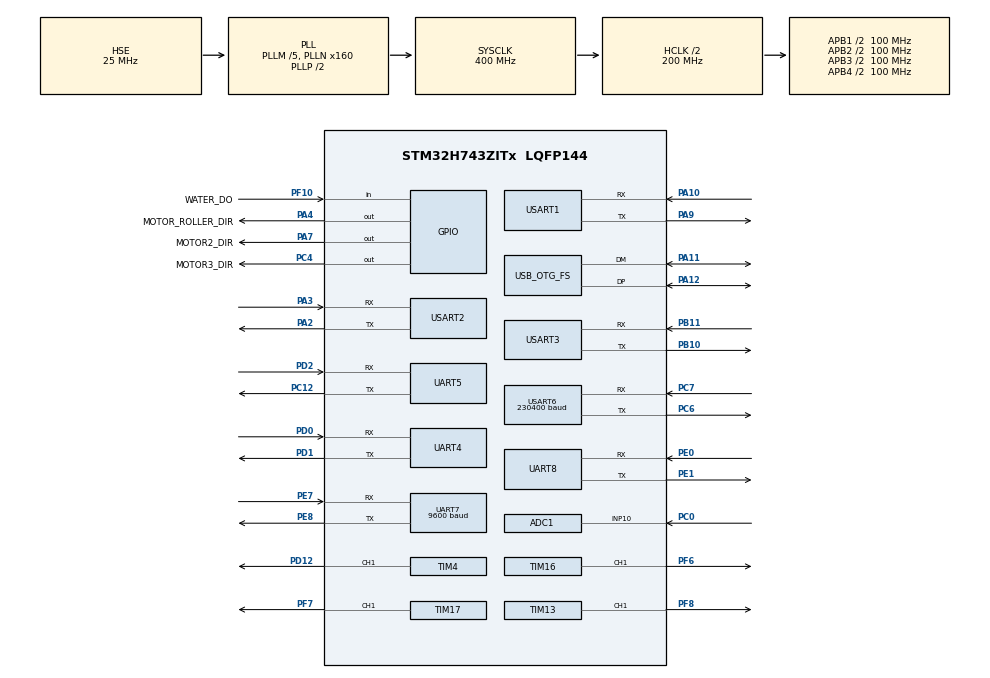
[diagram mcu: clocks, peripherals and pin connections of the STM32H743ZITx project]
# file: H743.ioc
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ADC1.Channel-0\#ChannelRegularConversion=ADC_CHANNEL_10
ADC1.NbrOfConversionFlag=1
ADC1.OffsetNumber-0\#ChannelRegularConversion=ADC_OFFSET_NONE
ADC1.OffsetSignedSaturation-0\#ChannelRegularConversion=DISABLE
ADC1.Rank-0\#ChannelRegularConversion=1
ADC1.Resolution=ADC_RESOLUTION_12B
ADC1.SamplingTime-0\#ChannelRegularConversion=ADC_SAMPLETIME_64CYCLES_5
ADC1.master=1
CORTEX_M7.default_mode_Activation=1
FREERTOS.Tasks01=defaultTask,24,128,StartDefaultTask,Default,NULL,Dynamic,NULL,NULL
FREERTOS.configTOTAL_HEAP_SIZE=65536
Mcu.Family=STM32H7
Mcu.Name=STM32H743ZITx
Mcu.Package=LQFP144
NVIC.OTG_FS_IRQn=true\:6\:0\:true\:false\:true\:true\:true\:true\:true
NVIC.PriorityGroup=NVIC_PRIORITYGROUP_4
NVIC.TIM15_IRQn=true\:15\:0\:false\:false\:true\:false\:false\:true\:true
NVIC.TIM6_DAC_IRQn=true\:6\:0\:true\:false\:true\:true\:true\:true\:true
NVIC.TIM7_IRQn=true\:6\:0\:true\:false\:true\:true\:true\:true\:true
NVIC.TimeBase=TIM15_IRQn
NVIC.TimeBaseIP=TIM15
NVIC.UART4_IRQn=true\:5\:0\:false\:false\:true\:true\:true\:true\:true
NVIC.UART5_IRQn=true\:5\:0\:false\:false\:true\:true\:true\:true\:true
NVIC.UART7_IRQn=true\:5\:0\:false\:false\:true\:true\:true\:true\:true
NVIC.UART8_IRQn=true\:5\:0\:false\:false\:true\:true\:true\:true\:true
NVIC.USART1_IRQn=true\:5\:0\:false\:false\:true\:true\:true\:true\:true
NVIC.USART2_IRQn=true\:5\:0\:false\:false\:true\:true\:true\:true\:true
NVIC.USART6_IRQn=true\:5\:0\:false\:false\:true\:true\:true\:true\:true
PA10.Mode=Asynchronous
PA10.Signal=USART1_RX
PA11.Mode=Device_Only
PA11.Signal=USB_OTG_FS_DM
PA12.Mode=Device_Only
PA12.Signal=USB_OTG_FS_DP
PA13\ (JTMS/SWDIO).Mode=Serial_Wire
PA13\ (JTMS/SWDIO).Signal=DEBUG_JTMS-SWDIO
PA14\ (JTCK/SWCLK).Mode=Serial_Wire
PA14\ (JTCK/SWCLK).Signal=DEBUG_JTCK-SWCLK
PA2.Mode=Asynchronous
PA2.Signal=USART2_TX
PA3.Mode=Asynchronous
PA3.Signal=USART2_RX
PA4.GPIO_Label=MOTOR_ROLLER_DIR
PA4.Signal=GPIO_Output
PA7.GPIO_Label=MOTOR2_DIR
PA7.Signal=GPIO_Output
PA9.Mode=Asynchronous
PA9.Signal=USART1_TX
PB10.Mode=Asynchronous
PB10.Signal=USART3_TX
PB11.Mode=Asynchronous
PB11.Signal=USART3_RX
PC0.Signal=ADCx_INP10
PC12.Mode=Asynchronous
PC12.Signal=UART5_TX
PC14-OSC32_IN\ (OSC32_IN).Mode=LSE-External-Oscillator
PC14-OSC32_IN\ (OSC32_IN).Signal=RCC_OSC32_IN
PC15-OSC32_OUT\ (OSC32_OUT).Mode=LSE-External-Oscillator
PC15-OSC32_OUT\ (OSC32_OUT).Signal=RCC_OSC32_OUT
PC4.GPIO_Label=MOTOR3_DIR
PC4.Signal=GPIO_Output
PC6.Mode=Asynchronous
PC6.Signal=USART6_TX
PC7.GPIO_PuPd=GPIO_PULLUP
PC7.Mode=Asynchronous
PC7.Signal=USART6_RX
PD0.Mode=Asynchronous
PD0.Signal=UART4_RX
PD1.Mode=Asynchronous
PD1.Signal=UART4_TX
PD12.Signal=S_TIM4_CH1
PD2.Mode=Asynchronous
PD2.Signal=UART5_RX
PE0.Mode=Asynchronous
PE0.Signal=UART8_RX
PE1.Mode=Asynchronous
PE1.Signal=UART8_TX
PE7.Mode=Asynchronous
PE7.Signal=UART7_RX
PE8.Mode=Asynchronous
PE8.Signal=UART7_TX
PF10.GPIO_Label=WATER_DO
PF10.Signal=GPIO_Input
PF6.Signal=S_TIM16_CH1
PF7.Signal=S_TIM17_CH1
PF8.Signal=S_TIM13_CH1
PH0-OSC_IN\ (PH0).Mode=HSE-External-Oscillator
PH0-OSC_IN\ (PH0).Signal=RCC_OSC_IN
PH1-OSC_OUT\ (PH1).Mode=HSE-External-Oscillator
PH1-OSC_OUT\ (PH1).Signal=RCC_OSC_OUT
ProjectManager.HeapSize=0x200
ProjectManager.StackSize=0x400
ProjectManager.TargetToolchain=MDK-ARM V5.32
RCC.ADCCLockSelection=RCC_ADCCLKSOURCE_CLKP
RCC.ADCFreq_Value=25000000
RCC.APB1Freq_Value=100000000
RCC.APB2Freq_Value=100000000
RCC.APB3Freq_Value=100000000
RCC.APB4Freq_Value=100000000
RCC.CKPERSourceSelection=RCC_CLKPSOURCE_HSE
RCC.CortexFreq_Value=400000000
RCC.D1PPRE=RCC_APB3_DIV2
RCC.D2PPRE1=RCC_APB1_DIV2
RCC.D2PPRE2=RCC_APB2_DIV2
RCC.D3PPRE=RCC_APB4_DIV2
RCC.DIVM1=5
RCC.DIVM2=5
RCC.DIVN1=160
RCC.DIVN2=45
RCC.HCLKFreq_Value=200000000
RCC.HPRE=RCC_HCLK_DIV2
RCC.PLL2FRACN=3072
RCC.PLLFRACN=0
RCC.PLLSourceVirtual=RCC_PLLSOURCE_HSE
RCC.SYSCLKFreq_VALUE=400000000
RCC.SYSCLKSource=RCC_SYSCLKSOURCE_PLLCLK
RCC.USBCLockSelection=RCC_USBCLKSOURCE_HSI48
RCC.USBFreq_Value=48000000
SH.ADCx_INP10.0=ADC1_INP10,IN10-Single-Ended
SH.S_TIM13_CH1.0=TIM13_CH1,PWM Generation1 CH1
SH.S_TIM16_CH1.0=TIM16_CH1,PWM Generation1 CH1
SH.S_TIM17_CH1.0=TIM17_CH1,PWM Generation1 CH1
SH.S_TIM4_CH1.0=TIM4_CH1,PWM Generation1 CH1
TIM13.Channel=TIM_CHANNEL_1
TIM13.OCPolarity_1=TIM_OCPOLARITY_LOW
TIM13.Period=99
TIM13.Prescaler=63
TIM16.AutoReloadPreload=TIM_AUTORELOAD_PRELOAD_ENABLE
TIM16.Channel=TIM_CHANNEL_1
TIM16.OCPolarity_1=TIM_OCPOLARITY_LOW
TIM16.Period=99
TIM16.Prescaler=63
TIM17.Channel=TIM_CHANNEL_1
TIM17.OCPolarity_1=TIM_OCPOLARITY_LOW
TIM17.Period=99
TIM17.Prescaler=63
TIM4.Channel=TIM_CHANNEL_1
TIM4.Channel-PWM\ Generation1\ CH1=TIM_CHANNEL_1
TIM4.Period=19999
TIM4.Prescaler=199
TIM6.Period=999
TIM6.Prescaler=199
TIM7.Period=499
TIM7.Prescaler=6399
UART4.VirtualMode-Asynchronous=VM_ASYNC
UART7.BaudRate=9600
UART7.VirtualMode-Asynchronous=VM_ASYNC
UART8.VirtualMode-Asynchronous=VM_ASYNC
USART1.VirtualMode-Asynchronous=VM_ASYNC
USART2.VirtualMode-Asynchronous=VM_ASYNC
USART3.VirtualMode-Asynchronous=VM_ASYNC
USART6.BaudRate=230400
USART6.VirtualMode-Asynchronous=VM_ASYNC
USB_DEVICE.CLASS_NAME_FS=CDC
USB_DEVICE.VirtualMode-CDC_FS=Cdc
USB_DEVICE.VirtualModeFS=Cdc_FS
USB_OTG_FS.VirtualMode=Device_Only
VP_FREERTOS_VS_CMSIS_V2.Mode=CMSIS_V2
VP_MEMORYMAP_VS_MEMORYMAP.Mode=CurAppReg
VP_SYS_VS_tim15.Mode=TIM15
VP_TIM13_VS_ClockSourceINT.Mode=Enable_Timer
VP_TIM16_VS_ClockSourceINT.Mode=Enable_Timer
VP_TIM17_VS_ClockSourceINT.Mode=Enable_Timer
VP_TIM4_VS_ClockSourceINT.Mode=Internal
VP_TIM6_VS_ClockSourceINT.Mode=Enable_Timer
VP_TIM7_VS_ClockSourceINT.Mode=Enable_Timer
VP_USB_DEVICE_VS_USB_DEVICE_CDC_FS.Mode=CDC_FS
board=custom

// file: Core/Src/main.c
/* USER CODE BEGIN Header */
/**
  ******************************************************************************
  * @file           : main.c
  * @brief          : Main program body
  ******************************************************************************
  * @attention
  *
  * Copyright (c) 2026 STMicroelectronics.
  * All rights reserved.
  *
  * This software is licensed under terms that can be found in the LICENSE file
  * in the root directory of this software component.
  * If no LICENSE file comes with this software, it is provided AS-IS.
  *
  ******************************************************************************
  */
/* USER CODE END Header */
#include "main.h"
#include "FreeRTOS.h"
#include "cmsis_os2.h"
#include "usb_device.h"

/* USER CODE BEGIN Includes */
#include "app_control.h"
#include "uart_port.h"
#include "usb_device.h"
#include "main.h"
#include "dvl_imu_fuser.h"
/* USER CODE END Includes */

/* USER CODE BEGIN PTD */
typedef struct
{
  TIM_HandleTypeDef *timer;
  uint32_t channel;
  GPIO_TypeDef *dir_port;
  uint16_t dir_pin;
} MotorHw_t;

/* USER CODE END PTD */

/* USER CODE BEGIN PD */
#define MOTOR_PWM_MAX_DUTY_PERCENT 100U
#define TOP_ESC_STOP_DUTY_PERCENT  5U
#define TOP_ESC_MAX_DUTY_PERCENT   10U
#define TOP_ESC_ARM_DELAY_MS        3000U
#define TOP_ESC_HALF_THROTTLE_US    1500U

/* USER CODE END PD */

ADC_HandleTypeDef hadc1;

TIM_HandleTypeDef htim4;
TIM_HandleTypeDef htim6;
TIM_HandleTypeDef htim7;
TIM_HandleTypeDef htim13;
TIM_HandleTypeDef htim16;
TIM_HandleTypeDef htim17;

UART_HandleTypeDef huart4;
UART_HandleTypeDef huart5;
UART_HandleTypeDef huart7;
UART_HandleTypeDef huart8;
UART_HandleTypeDef huart1;
UART_HandleTypeDef huart2;
UART_HandleTypeDef huart3;
UART_HandleTypeDef huart6;

/* Definitions for defaultTask */
osThreadId_t defaultTaskHandle;
const osThreadAttr_t defaultTask_attributes = {
  .name = "defaultTask",
  .stack_size = 128 * 4,
  .priority = (osPriority_t) osPriorityNormal,
};
/* USER CODE BEGIN PV */
volatile uint32_t tim6_1ms_cnt = 0;

static const MotorHw_t motor_hw[MOTOR_OUTPUT_COUNT] =
{
  [MOTOR_OUTPUT_TOP]   = {&htim4, TIM_CHANNEL_1, NULL, 0U},
  [MOTOR_OUTPUT_RIGHT] = {&htim17, TIM_CHANNEL_1, MOTOR2_DIR_GPIO_Port, MOTOR2_DIR_Pin},
  [MOTOR_OUTPUT_LEFT]  = {&htim16, TIM_CHANNEL_1, MOTOR3_DIR_GPIO_Port, MOTOR3_DIR_Pin},
  [MOTOR_OUTPUT_FRONT_ROLLER] = {&htim13, TIM_CHANNEL_1, MOTOR_ROLLER_DIR_GPIO_Port, MOTOR_ROLLER_DIR_Pin},
};

/* USER CODE END PV */

void SystemClock_Config(void);
void PeriphCommonClock_Config(void);
static void MPU_Config(void);
static void MX_GPIO_Init(void);
static void MX_ADC1_Init(void);
static void MX_TIM6_Init(void);
static void MX_TIM7_Init(void);
static void MX_TIM13_Init(void);
static void MX_TIM16_Init(void);
static void MX_TIM17_Init(void);
static void MX_UART4_Init(void);
static void MX_UART5_Init(void);
static void MX_UART7_Init(void);
static void MX_UART8_Init(void);
static void MX_USART1_UART_Init(void);
static void MX_USART2_UART_Init(void);
static void MX_USART6_UART_Init(void);
static void MX_TIM4_Init(void);
static void MX_USART3_UART_Init(void);
void StartDefaultTask(void *argument);

/* USER CODE BEGIN 0 */
static uint32_t Motor_DutyPercentToCompare(const TIM_HandleTypeDef *timer, uint8_t duty_percent)
{
  uint32_t period;
  uint32_t compare;

  if (duty_percent > MOTOR_PWM_MAX_DUTY_PERCENT)
  {
    duty_percent = MOTOR_PWM_MAX_DUTY_PERCENT;
  }

  period = timer->Init.Period;
  compare = ((period + 1U) * (uint32_t)duty_percent) / 100U;
  if (compare > period)
  {
    compare = period + 1U;
  }

  return compare;
}

void Motor_SetPercent(MotorOutput_t motor, MotorDir_t dir, uint8_t duty_percent)
{
  const MotorHw_t *hw;

  if (motor >= MOTOR_OUTPUT_COUNT)
  {
    return;
  }

  hw = &motor_hw[motor];

  if (motor == MOTOR_OUTPUT_TOP)
  {
    if (duty_percent < TOP_ESC_STOP_DUTY_PERCENT)
    {
      duty_percent = TOP_ESC_STOP_DUTY_PERCENT;
    }
    else if (duty_percent > TOP_ESC_MAX_DUTY_PERCENT)
    {
      duty_percent = TOP_ESC_MAX_DUTY_PERCENT;
    }
  }

  /*
   * BL3640G FR input: grounded = CCW, released/high = CW.
   * Direct GPIO can only output 0/3.3V. Use an external level shifter or
   * open-collector transistor if the motor side requires true 5V/floating.
   */
  if (hw->dir_port != NULL)
  {
    HAL_GPIO_WritePin(hw->dir_port,
                      hw->dir_pin,
                      (dir == MOTOR_DIR_CCW) ? GPIO_PIN_RESET : GPIO_PIN_SET);
  }

  __HAL_TIM_SET_COMPARE(hw->timer,
                        hw->channel,
                        Motor_DutyPercentToCompare(hw->timer, duty_percent));
}

void Motor_StopAll(void)
{
  Motor_SetPercent(MOTOR_OUTPUT_TOP, MOTOR_DIR_CW, TOP_ESC_STOP_DUTY_PERCENT);
  Motor_SetPercent(MOTOR_OUTPUT_RIGHT, MOTOR_DIR_CW, 0U);
  Motor_SetPercent(MOTOR_OUTPUT_LEFT, MOTOR_DIR_CCW, 0U);
  Motor_SetPercent(MOTOR_OUTPUT_FRONT_ROLLER, MOTOR_DIR_CW, 0U);
}

void Motor_Init(void)
{
  if (HAL_TIM_PWM_Start(&htim4, TIM_CHANNEL_1) != HAL_OK)
  {
    Error_Handler();
  }
  if (HAL_TIM_PWM_Start(&htim13, TIM_CHANNEL_1) != HAL_OK)
  {
    Error_Handler();
  }
  if (HAL_TIM_PWM_Start(&htim16, TIM_CHANNEL_1) != HAL_OK)
  {
    Error_Handler();
  }
  if (HAL_TIM_PWM_Start(&htim17, TIM_CHANNEL_1) != HAL_OK)
  {
    Error_Handler();
  }

  Motor_StopAll();
  HAL_Delay(TOP_ESC_ARM_DELAY_MS);
  __HAL_TIM_SET_COMPARE(&htim4, TIM_CHANNEL_1, TOP_ESC_HALF_THROTTLE_US);
  Log_Printf("[MOTOR] TOP ESC PD12 armed at 5%%, now half throttle (1500 us)\r\n");
}
/* USER CODE END 0 */

int main(void)
{

  /* MPU Configuration--------------------------------------------------------*/
  MPU_Config();

  /* MCU Configuration--------------------------------------------------------*/

  /* Reset of all peripherals, Initializes the Flash interface and the Systick. */
  HAL_Init();

  /* Configure the system clock */
  SystemClock_Config();

  /* Configure the peripherals common clocks */
  PeriphCommonClock_Config();

  /* Initialize all configured peripherals */
  MX_GPIO_Init();
  MX_ADC1_Init();
  MX_TIM6_Init();
  MX_TIM7_Init();
  MX_TIM13_Init();
  MX_TIM16_Init();
  MX_TIM17_Init();
  MX_UART4_Init();
  MX_UART5_Init();
  MX_UART7_Init();
  MX_UART8_Init();
  MX_USART1_UART_Init();
  MX_USART2_UART_Init();
  MX_USART6_UART_Init();
  MX_TIM4_Init();
  MX_USART3_UART_Init();
  /* USER CODE BEGIN 2 */

	App_UART_Init();

	HAL_TIM_Base_Start_IT(&htim6);
  Motor_Init();

  /* USER CODE END 2 */

  /* Init scheduler */
  osKernelInitialize();

  /* USER CODE BEGIN RTOS_MUTEX */
  /* add mutexes, ... */
	DVL_IMU_Fuser_Init();
  /* USER CODE END RTOS_MUTEX */

  /* Create the thread(s) */
  /* creation of defaultTask */
  defaultTaskHandle = osThreadNew(StartDefaultTask, NULL, &defaultTask_attributes);

  /* USER CODE BEGIN RTOS_THREADS */
  App_Tasks_Init();
  /* USER CODE END RTOS_THREADS */

  /* Start scheduler */
  osKernelStart();

  /* We should never get here as control is now taken by the scheduler */

  /* Infinite loop */
  while (1)
  {

  }
}

void SystemClock_Config(void)
{
  RCC_OscInitTypeDef RCC_OscInitStruct = {0};
  RCC_ClkInitTypeDef RCC_ClkInitStruct = {0};

  /** Supply configuration update enable
  */
  HAL_PWREx_ConfigSupply(PWR_LDO_SUPPLY);

  /** Configure the main internal regulator output voltage
  */
  __HAL_PWR_VOLTAGESCALING_CONFIG(PWR_REGULATOR_VOLTAGE_SCALE1);

  while(!__HAL_PWR_GET_FLAG(PWR_FLAG_VOSRDY)) {}

  /** Initializes the RCC Oscillators according to the specified parameters
  * in the RCC_OscInitTypeDef structure.
  */
  RCC_OscInitStruct.OscillatorType = RCC_OSCILLATORTYPE_HSI48|RCC_OSCILLATORTYPE_HSE;
  RCC_OscInitStruct.HSEState = RCC_HSE_ON;
  RCC_OscInitStruct.HSI48State = RCC_HSI48_ON;
  RCC_OscInitStruct.PLL.PLLState = RCC_PLL_ON;
  RCC_OscInitStruct.PLL.PLLSource = RCC_PLLSOURCE_HSE;
  RCC_OscInitStruct.PLL.PLLM = 5;
  RCC_OscInitStruct.PLL.PLLN = 160;
  RCC_OscInitStruct.PLL.PLLP = 2;
  RCC_OscInitStruct.PLL.PLLQ = 2;
  RCC_OscInitStruct.PLL.PLLR = 2;
  RCC_OscInitStruct.PLL.PLLRGE = RCC_PLL1VCIRANGE_2;
  RCC_OscInitStruct.PLL.PLLVCOSEL = RCC_PLL1VCOWIDE;
  RCC_OscInitStruct.PLL.PLLFRACN = 0;
  if (HAL_RCC_OscConfig(&RCC_OscInitStruct) != HAL_OK)
  {
    Error_Handler();
  }

  /** Initializes the CPU, AHB and APB buses clocks
  */
  RCC_ClkInitStruct.ClockType = RCC_CLOCKTYPE_HCLK|RCC_CLOCKTYPE_SYSCLK
                              |RCC_CLOCKTYPE_PCLK1|RCC_CLOCKTYPE_PCLK2
                              |RCC_CLOCKTYPE_D3PCLK1|RCC_CLOCKTYPE_D1PCLK1;
  RCC_ClkInitStruct.SYSCLKSource = RCC_SYSCLKSOURCE_PLLCLK;
  RCC_ClkInitStruct.SYSCLKDivider = RCC_SYSCLK_DIV1;
  RCC_ClkInitStruct.AHBCLKDivider = RCC_HCLK_DIV2;
  RCC_ClkInitStruct.APB3CLKDivider = RCC_APB3_DIV2;
  RCC_ClkInitStruct.APB1CLKDivider = RCC_APB1_DIV2;
  RCC_ClkInitStruct.APB2CLKDivider = RCC_APB2_DIV2;
  RCC_ClkInitStruct.APB4CLKDivider = RCC_APB4_DIV2;

  if (HAL_RCC_ClockConfig(&RCC_ClkInitStruct, FLASH_LATENCY_2) != HAL_OK)
  {
    Error_Handler();
  }
}

void PeriphCommonClock_Config(void)
{
  RCC_PeriphCLKInitTypeDef PeriphClkInitStruct = {0};

  /** Initializes the peripherals clock
  */
  PeriphClkInitStruct.PeriphClockSelection = RCC_PERIPHCLK_CKPER;
  PeriphClkInitStruct.CkperClockSelection = RCC_CLKPSOURCE_HSE;
  if (HAL_RCCEx_PeriphCLKConfig(&PeriphClkInitStruct) != HAL_OK)
  {
    Error_Handler();
  }
}

static void MX_ADC1_Init(void)
{

  ADC_MultiModeTypeDef multimode = {0};
  ADC_ChannelConfTypeDef sConfig = {0};

  /** Common config
  */
  hadc1.Instance = ADC1;
  hadc1.Init.ClockPrescaler = ADC_CLOCK_ASYNC_DIV1;
  hadc1.Init.Resolution = ADC_RESOLUTION_12B;
  hadc1.Init.ScanConvMode = ADC_SCAN_DISABLE;
  hadc1.Init.EOCSelection = ADC_EOC_SINGLE_CONV;
  hadc1.Init.LowPowerAutoWait = DISABLE;
  hadc1.Init.ContinuousConvMode = DISABLE;
  hadc1.Init.NbrOfConversion = 1;
  hadc1.Init.DiscontinuousConvMode = DISABLE;
  hadc1.Init.ExternalTrigConv = ADC_SOFTWARE_START;
  hadc1.Init.ExternalTrigConvEdge = ADC_EXTERNALTRIGCONVEDGE_NONE;
  hadc1.Init.ConversionDataManagement = ADC_CONVERSIONDATA_DR;
  hadc1.Init.Overrun = ADC_OVR_DATA_PRESERVED;
  hadc1.Init.LeftBitShift = ADC_LEFTBITSHIFT_NONE;
  hadc1.Init.OversamplingMode = DISABLE;
  hadc1.Init.Oversampling.Ratio = 1;
  if (HAL_ADC_Init(&hadc1) != HAL_OK)
  {
    Error_Handler();
  }

  /** Configure the ADC multi-mode
  */
  multimode.Mode = ADC_MODE_INDEPENDENT;
  if (HAL_ADCEx_MultiModeConfigChannel(&hadc1, &multimode) != HAL_OK)
  {
    Error_Handler();
  }

  /** Configure Regular Channel
  */
  sConfig.Channel = ADC_CHANNEL_10;
  sConfig.Rank = ADC_REGULAR_RANK_1;
  sConfig.SamplingTime = ADC_SAMPLETIME_64CYCLES_5;
  sConfig.SingleDiff = ADC_SINGLE_ENDED;
  sConfig.OffsetNumber = ADC_OFFSET_NONE;
  sConfig.Offset = 0;
  sConfig.OffsetSignedSaturation = DISABLE;
  if (HAL_ADC_ConfigChannel(&hadc1, &sConfig) != HAL_OK)
  {
    Error_Handler();
  }

}

static void MX_TIM4_Init(void)
{

  TIM_ClockConfigTypeDef sClockSourceConfig = {0};
  TIM_MasterConfigTypeDef sMasterConfig = {0};
  TIM_OC_InitTypeDef sConfigOC = {0};

  htim4.Instance = TIM4;
  htim4.Init.Prescaler = 199;
  htim4.Init.CounterMode = TIM_COUNTERMODE_UP;
  htim4.Init.Period = 19999;
  htim4.Init.ClockDivision = TIM_CLOCKDIVISION_DIV1;
  htim4.Init.AutoReloadPreload = TIM_AUTORELOAD_PRELOAD_DISABLE;
  if (HAL_TIM_Base_Init(&htim4) != HAL_OK)
  {
    Error_Handler();
  }
  sClockSourceConfig.ClockSource = TIM_CLOCKSOURCE_INTERNAL;
  if (HAL_TIM_ConfigClockSource(&htim4, &sClockSourceConfig) != HAL_OK)
  {
    Error_Handler();
  }
  if (HAL_TIM_PWM_Init(&htim4) != HAL_OK)
  {
    Error_Handler();
  }
  sMasterConfig.MasterOutputTrigger = TIM_TRGO_RESET;
  sMasterConfig.MasterSlaveMode = TIM_MASTERSLAVEMODE_DISABLE;
  if (HAL_TIMEx_MasterConfigSynchronization(&htim4, &sMasterConfig) != HAL_OK)
  {
    Error_Handler();
  }
  sConfigOC.OCMode = TIM_OCMODE_PWM1;
  sConfigOC.Pulse = 0;
  sConfigOC.OCPolarity = TIM_OCPOLARITY_HIGH;
  sConfigOC.OCFastMode = TIM_OCFAST_DISABLE;
  if (HAL_TIM_PWM_ConfigChannel(&htim4, &sConfigOC, TIM_CHANNEL_1) != HAL_OK)
  {
    Error_Handler();
  }
  HAL_TIM_MspPostInit(&htim4);

}

static void MX_TIM6_Init(void)
{

  TIM_MasterConfigTypeDef sMasterConfig = {0};

  htim6.Instance = TIM6;
  htim6.Init.Prescaler = 199;
  htim6.Init.CounterMode = TIM_COUNTERMODE_UP;
  htim6.Init.Period = 999;
  htim6.Init.AutoReloadPreload = TIM_AUTORELOAD_PRELOAD_DISABLE;
  if (HAL_TIM_Base_Init(&htim6) != HAL_OK)
  {
    Error_Handler();
  }
  sMasterConfig.MasterOutputTrigger = TIM_TRGO_RESET;
  sMasterConfig.MasterSlaveMode = TIM_MASTERSLAVEMODE_DISABLE;
  if (HAL_TIMEx_MasterConfigSynchronization(&htim6, &sMasterConfig) != HAL_OK)
  {
    Error_Handler();
  }

}

static void MX_TIM7_Init(void)
{

  TIM_MasterConfigTypeDef sMasterConfig = {0};

  htim7.Instance = TIM7;
  htim7.Init.Prescaler = 6399;
  htim7.Init.CounterMode = TIM_COUNTERMODE_UP;
  htim7.Init.Period = 499;
  htim7.Init.AutoReloadPreload = TIM_AUTORELOAD_PRELOAD_DISABLE;
  if (HAL_TIM_Base_Init(&htim7) != HAL_OK)
  {
    Error_Handler();
  }
  sMasterConfig.MasterOutputTrigger = TIM_TRGO_RESET;
  sMasterConfig.MasterSlaveMode = TIM_MASTERSLAVEMODE_DISABLE;
  if (HAL_TIMEx_MasterConfigSynchronization(&htim7, &sMasterConfig) != HAL_OK)
  {
    Error_Handler();
  }

}

static void MX_TIM13_Init(void)
{

  TIM_OC_InitTypeDef sConfigOC = {0};

  htim13.Instance = TIM13;
  htim13.Init.Prescaler = 63;
  htim13.Init.CounterMode = TIM_COUNTERMODE_UP;
  htim13.Init.Period = 99;
  htim13.Init.ClockDivision = TIM_CLOCKDIVISION_DIV1;
  htim13.Init.AutoReloadPreload = TIM_AUTORELOAD_PRELOAD_DISABLE;
  if (HAL_TIM_Base_Init(&htim13) != HAL_OK)
  {
    Error_Handler();
  }
  if (HAL_TIM_PWM_Init(&htim13) != HAL_OK)
  {
    Error_Handler();
  }
  sConfigOC.OCMode = TIM_OCMODE_PWM1;
  sConfigOC.Pulse = 0;
  sConfigOC.OCPolarity = TIM_OCPOLARITY_LOW;
  sConfigOC.OCFastMode = TIM_OCFAST_DISABLE;
  if (HAL_TIM_PWM_ConfigChannel(&htim13, &sConfigOC, TIM_CHANNEL_1) != HAL_OK)
  {
    Error_Handler();
  }
  HAL_TIM_MspPostInit(&htim13);

}

static void MX_TIM16_Init(void)
{

  TIM_OC_InitTypeDef sConfigOC = {0};
  TIM_BreakDeadTimeConfigTypeDef sBreakDeadTimeConfig = {0};

  htim16.Instance = TIM16;
  htim16.Init.Prescaler = 63;
  htim16.Init.CounterMode = TIM_COUNTERMODE_UP;
  htim16.Init.Period = 99;
  htim16.Init.ClockDivision = TIM_CLOCKDIVISION_DIV1;
  htim16.Init.RepetitionCounter = 0;
  htim16.Init.AutoReloadPreload = TIM_AUTORELOAD_PRELOAD_ENABLE;
  if (HAL_TIM_Base_Init(&htim16) != HAL_OK)
  {
    Error_Handler();
  }
  if (HAL_TIM_PWM_Init(&htim16) != HAL_OK)
  {
    Error_Handler();
  }
  sConfigOC.OCMode = TIM_OCMODE_PWM1;
  sConfigOC.Pulse = 0;
  sConfigOC.OCPolarity = TIM_OCPOLARITY_LOW;
  sConfigOC.OCNPolarity = TIM_OCNPOLARITY_HIGH;
  sConfigOC.OCFastMode = TIM_OCFAST_DISABLE;
  sConfigOC.OCIdleState = TIM_OCIDLESTATE_RESET;
  sConfigOC.OCNIdleState = TIM_OCNIDLESTATE_RESET;
  if (HAL_TIM_PWM_ConfigChannel(&htim16, &sConfigOC, TIM_CHANNEL_1) != HAL_OK)
  {
    Error_Handler();
  }
  sBreakDeadTimeConfig.OffStateRunMode = TIM_OSSR_DISABLE;
  sBreakDeadTimeConfig.OffStateIDLEMode = TIM_OSSI_DISABLE;
  sBreakDeadTimeConfig.LockLevel = TIM_LOCKLEVEL_OFF;
  sBreakDeadTimeConfig.DeadTime = 0;
  sBreakDeadTimeConfig.BreakState = TIM_BREAK_DISABLE;
  sBreakDeadTimeConfig.BreakPolarity = TIM_BREAKPOLARITY_HIGH;
  sBreakDeadTimeConfig.BreakFilter = 0;
  sBreakDeadTimeConfig.AutomaticOutput = TIM_AUTOMATICOUTPUT_DISABLE;
  if (HAL_TIMEx_ConfigBreakDeadTime(&htim16, &sBreakDeadTimeConfig) != HAL_OK)
  {
    Error_Handler();
  }
  HAL_TIM_MspPostInit(&htim16);

}

static void MX_TIM17_Init(void)
{

  TIM_OC_InitTypeDef sConfigOC = {0};
  TIM_BreakDeadTimeConfigTypeDef sBreakDeadTimeConfig = {0};

  htim17.Instance = TIM17;
  htim17.Init.Prescaler = 63;
  htim17.Init.CounterMode = TIM_COUNTERMODE_UP;
  htim17.Init.Period = 99;
  htim17.Init.ClockDivision = TIM_CLOCKDIVISION_DIV1;
  htim17.Init.RepetitionCounter = 0;
  htim17.Init.AutoReloadPreload = TIM_AUTORELOAD_PRELOAD_DISABLE;
  if (HAL_TIM_Base_Init(&htim17) != HAL_OK)
  {
    Error_Handler();
  }
  if (HAL_TIM_PWM_Init(&htim17) != HAL_OK)
  {
    Error_Handler();
  }
  sConfigOC.OCMode = TIM_OCMODE_PWM1;
  sConfigOC.Pulse = 0;
  sConfigOC.OCPolarity = TIM_OCPOLARITY_LOW;
  sConfigOC.OCNPolarity = TIM_OCNPOLARITY_HIGH;
  sConfigOC.OCFastMode = TIM_OCFAST_DISABLE;
  sConfigOC.OCIdleState = TIM_OCIDLESTATE_RESET;
  sConfigOC.OCNIdleState = TIM_OCNIDLESTATE_RESET;
  if (HAL_TIM_PWM_ConfigChannel(&htim17, &sConfigOC, TIM_CHANNEL_1) != HAL_OK)
  {
    Error_Handler();
  }
  sBreakDeadTimeConfig.OffStateRunMode = TIM_OSSR_DISABLE;
  sBreakDeadTimeConfig.OffStateIDLEMode = TIM_OSSI_DISABLE;
  sBreakDeadTimeConfig.LockLevel = TIM_LOCKLEVEL_OFF;
  sBreakDeadTimeConfig.DeadTime = 0;
  sBreakDeadTimeConfig.BreakState = TIM_BREAK_DISABLE;
  sBreakDeadTimeConfig.BreakPolarity = TIM_BREAKPOLARITY_HIGH;
  sBreakDeadTimeConfig.BreakFilter = 0;
  sBreakDeadTimeConfig.AutomaticOutput = TIM_AUTOMATICOUTPUT_DISABLE;
  if (HAL_TIMEx_ConfigBreakDeadTime(&htim17, &sBreakDeadTimeConfig) != HAL_OK)
  {
    Error_Handler();
  }
  HAL_TIM_MspPostInit(&htim17);

}

static void MX_UART4_Init(void)
{

  huart4.Instance = UART4;
  huart4.Init.BaudRate = 115200;
  huart4.Init.WordLength = UART_WORDLENGTH_8B;
  huart4.Init.StopBits = UART_STOPBITS_1;
  huart4.Init.Parity = UART_PARITY_NONE;
  huart4.Init.Mode = UART_MODE_TX_RX;
  huart4.Init.HwFlowCtl = UART_HWCONTROL_NONE;
  huart4.Init.OverSampling = UART_OVERSAMPLING_16;
  huart4.Init.OneBitSampling = UART_ONE_BIT_SAMPLE_DISABLE;
  huart4.Init.ClockPrescaler = UART_PRESCALER_DIV1;
  huart4.AdvancedInit.AdvFeatureInit = UART_ADVFEATURE_NO_INIT;
  if (HAL_UART_Init(&huart4) != HAL_OK)
  {
    Error_Handler();
  }
  if (HAL_UARTEx_SetTxFifoThreshold(&huart4, UART_TXFIFO_THRESHOLD_1_8) != HAL_OK)
  {
    Error_Handler();
  }
  if (HAL_UARTEx_SetRxFifoThreshold(&huart4, UART_RXFIFO_THRESHOLD_1_8) != HAL_OK)
  {
    Error_Handler();
  }
  if (HAL_UARTEx_DisableFifoMode(&huart4) != HAL_OK)
  {
    Error_Handler();
  }

}

static void MX_UART5_Init(void)
{

  huart5.Instance = UART5;
  huart5.Init.BaudRate = 115200;
  huart5.Init.WordLength = UART_WORDLENGTH_8B;
  huart5.Init.StopBits = UART_STOPBITS_1;
  huart5.Init.Parity = UART_PARITY_NONE;
  huart5.Init.Mode = UART_MODE_TX_RX;
  huart5.Init.HwFlowCtl = UART_HWCONTROL_NONE;
  huart5.Init.OverSampling = UART_OVERSAMPLING_16;
  huart5.Init.OneBitSampling = UART_ONE_BIT_SAMPLE_DISABLE;
  huart5.Init.ClockPrescaler = UART_PRESCALER_DIV1;
  huart5.AdvancedInit.AdvFeatureInit = UART_ADVFEATURE_NO_INIT;
  if (HAL_UART_Init(&huart5) != HAL_OK)
  {
    Error_Handler();
  }
  if (HAL_UARTEx_SetTxFifoThreshold(&huart5, UART_TXFIFO_THRESHOLD_1_8) != HAL_OK)
  {
    Error_Handler();
  }
  if (HAL_UARTEx_SetRxFifoThreshold(&huart5, UART_RXFIFO_THRESHOLD_1_8) != HAL_OK)
  {
    Error_Handler();
  }
  if (HAL_UARTEx_DisableFifoMode(&huart5) != HAL_OK)
  {
    Error_Handler();
  }

}

static void MX_UART7_Init(void)
{

  huart7.Instance = UART7;
  huart7.Init.BaudRate = 9600;
  huart7.Init.WordLength = UART_WORDLENGTH_8B;
  huart7.Init.StopBits = UART_STOPBITS_1;
  huart7.Init.Parity = UART_PARITY_NONE;
  huart7.Init.Mode = UART_MODE_TX_RX;
  huart7.Init.HwFlowCtl = UART_HWCONTROL_NONE;
  huart7.Init.OverSampling = UART_OVERSAMPLING_16;
  huart7.Init.OneBitSampling = UART_ONE_BIT_SAMPLE_DISABLE;
  huart7.Init.ClockPrescaler = UART_PRESCALER_DIV1;
  huart7.AdvancedInit.AdvFeatureInit = UART_ADVFEATURE_NO_INIT;
  if (HAL_UART_Init(&huart7) != HAL_OK)
  {
    Error_Handler();
  }
  if (HAL_UARTEx_SetTxFifoThreshold(&huart7, UART_TXFIFO_THRESHOLD_1_8) != HAL_OK)
  {
    Error_Handler();
  }
  if (HAL_UARTEx_SetRxFifoThreshold(&huart7, UART_RXFIFO_THRESHOLD_1_8) != HAL_OK)
  {
    Error_Handler();
  }
  if (HAL_UARTEx_DisableFifoMode(&huart7) != HAL_OK)
  {
    Error_Handler();
  }

}

static void MX_UART8_Init(void)
{

  huart8.Instance = UART8;
  huart8.Init.BaudRate = 115200;
  huart8.Init.WordLength = UART_WORDLENGTH_8B;
  huart8.Init.StopBits = UART_STOPBITS_1;
  huart8.Init.Parity = UART_PARITY_NONE;
  huart8.Init.Mode = UART_MODE_TX_RX;
  huart8.Init.HwFlowCtl = UART_HWCONTROL_NONE;
  huart8.Init.OverSampling = UART_OVERSAMPLING_16;
  huart8.Init.OneBitSampling = UART_ONE_BIT_SAMPLE_DISABLE;
  huart8.Init.ClockPrescaler = UART_PRESCALER_DIV1;
  huart8.AdvancedInit.AdvFeatureInit = UART_ADVFEATURE_NO_INIT;
  if (HAL_UART_Init(&huart8) != HAL_OK)
  {
    Error_Handler();
  }
  if (HAL_UARTEx_SetTxFifoThreshold(&huart8, UART_TXFIFO_THRESHOLD_1_8) != HAL_OK)
  {
    Error_Handler();
  }
  if (HAL_UARTEx_SetRxFifoThreshold(&huart8, UART_RXFIFO_THRESHOLD_1_8) != HAL_OK)
  {
    Error_Handler();
  }
  if (HAL_UARTEx_DisableFifoMode(&huart8) != HAL_OK)
  {
    Error_Handler();
  }

}

static void MX_USART1_UART_Init(void)
{

  huart1.Instance = USART1;
  huart1.Init.BaudRate = 115200;
  huart1.Init.WordLength = UART_WORDLENGTH_8B;
  huart1.Init.StopBits = UART_STOPBITS_1;
  huart1.Init.Parity = UART_PARITY_NONE;
  huart1.Init.Mode = UART_MODE_TX_RX;
  huart1.Init.HwFlowCtl = UART_HWCONTROL_NONE;
  huart1.Init.OverSampling = UART_OVERSAMPLING_16;
  huart1.Init.OneBitSampling = UART_ONE_BIT_SAMPLE_DISABLE;
  huart1.Init.ClockPrescaler = UART_PRESCALER_DIV1;
  huart1.AdvancedInit.AdvFeatureInit = UART_ADVFEATURE_NO_INIT;
  if (HAL_UART_Init(&huart1) != HAL_OK)
  {
    Error_Handler();
  }
  if (HAL_UARTEx_SetTxFifoThreshold(&huart1, UART_TXFIFO_THRESHOLD_1_8) != HAL_OK)
  {
    Error_Handler();
  }
  if (HAL_UARTEx_SetRxFifoThreshold(&huart1, UART_RXFIFO_THRESHOLD_1_8) != HAL_OK)
  {
    Error_Handler();
  }
  if (HAL_UARTEx_DisableFifoMode(&huart1) != HAL_OK)
  {
    Error_Handler();
  }

}

static void MX_USART2_UART_Init(void)
{

  huart2.Instance = USART2;
  huart2.Init.BaudRate = 115200;
  huart2.Init.WordLength = UART_WORDLENGTH_8B;
  huart2.Init.StopBits = UART_STOPBITS_1;
  huart2.Init.Parity = UART_PARITY_NONE;
  huart2.Init.Mode = UART_MODE_TX_RX;
  huart2.Init.HwFlowCtl = UART_HWCONTROL_NONE;
  huart2.Init.OverSampling = UART_OVERSAMPLING_16;
  huart2.Init.OneBitSampling = UART_ONE_BIT_SAMPLE_DISABLE;
  huart2.Init.ClockPrescaler = UART_PRESCALER_DIV1;
  huart2.AdvancedInit.AdvFeatureInit = UART_ADVFEATURE_NO_INIT;
  if (HAL_UART_Init(&huart2) != HAL_OK)
  {
    Error_Handler();
  }
  if (HAL_UARTEx_SetTxFifoThreshold(&huart2, UART_TXFIFO_THRESHOLD_1_8) != HAL_OK)
  {
    Error_Handler();
  }
  if (HAL_UARTEx_SetRxFifoThreshold(&huart2, UART_RXFIFO_THRESHOLD_1_8) != HAL_OK)
  {
    Error_Handler();
  }
  if (HAL_UARTEx_DisableFifoMode(&huart2) != HAL_OK)
  {
    Error_Handler();
  }

}

static void MX_USART3_UART_Init(void)
{

  huart3.Instance = USART3;
  huart3.Init.BaudRate = 115200;
  huart3.Init.WordLength = UART_WORDLENGTH_8B;
  huart3.Init.StopBits = UART_STOPBITS_1;
  huart3.Init.Parity = UART_PARITY_NONE;
  huart3.Init.Mode = UART_MODE_TX_RX;
  huart3.Init.HwFlowCtl = UART_HWCONTROL_NONE;
  huart3.Init.OverSampling = UART_OVERSAMPLING_16;
  huart3.Init.OneBitSampling = UART_ONE_BIT_SAMPLE_DISABLE;
  huart3.Init.ClockPrescaler = UART_PRESCALER_DIV1;
  huart3.AdvancedInit.AdvFeatureInit = UART_ADVFEATURE_NO_INIT;
  if (HAL_UART_Init(&huart3) != HAL_OK)
  {
    Error_Handler();
  }
  if (HAL_UARTEx_SetTxFifoThreshold(&huart3, UART_TXFIFO_THRESHOLD_1_8) != HAL_OK)
  {
    Error_Handler();
  }
  if (HAL_UARTEx_SetRxFifoThreshold(&huart3, UART_RXFIFO_THRESHOLD_1_8) != HAL_OK)
  {
    Error_Handler();
  }
  if (HAL_UARTEx_DisableFifoMode(&huart3) != HAL_OK)
  {
    Error_Handler();
  }

}

static void MX_USART6_UART_Init(void)
{

  huart6.Instance = USART6;
  huart6.Init.BaudRate = 230400;
  huart6.Init.WordLength = UART_WORDLENGTH_8B;
  huart6.Init.StopBits = UART_STOPBITS_1;
  huart6.Init.Parity = UART_PARITY_NONE;
  huart6.Init.Mode = UART_MODE_TX_RX;
  huart6.Init.HwFlowCtl = UART_HWCONTROL_NONE;
  huart6.Init.OverSampling = UART_OVERSAMPLING_16;
  huart6.Init.OneBitSampling = UART_ONE_BIT_SAMPLE_DISABLE;
  huart6.Init.ClockPrescaler = UART_PRESCALER_DIV1;
  huart6.AdvancedInit.AdvFeatureInit = UART_ADVFEATURE_NO_INIT;
  if (HAL_UART_Init(&huart6) != HAL_OK)
  {
    Error_Handler();
  }
  if (HAL_UARTEx_SetTxFifoThreshold(&huart6, UART_TXFIFO_THRESHOLD_1_8) != HAL_OK)
  {
    Error_Handler();
  }
  if (HAL_UARTEx_SetRxFifoThreshold(&huart6, UART_RXFIFO_THRESHOLD_1_8) != HAL_OK)
  {
    Error_Handler();
  }
  if (HAL_UARTEx_DisableFifoMode(&huart6) != HAL_OK)
  {
    Error_Handler();
  }

}

static void MX_GPIO_Init(void)
{
  GPIO_InitTypeDef GPIO_InitStruct = {0};

  /* GPIO Ports Clock Enable */
  __HAL_RCC_GPIOC_CLK_ENABLE();
  __HAL_RCC_GPIOF_CLK_ENABLE();
  __HAL_RCC_GPIOH_CLK_ENABLE();
  __HAL_RCC_GPIOA_CLK_ENABLE();
  __HAL_RCC_GPIOE_CLK_ENABLE();
  __HAL_RCC_GPIOB_CLK_ENABLE();
  __HAL_RCC_GPIOD_CLK_ENABLE();

  /*Configure GPIO pin Output Level */
  HAL_GPIO_WritePin(GPIOA, MOTOR_ROLLER_DIR_Pin|MOTOR2_DIR_Pin, GPIO_PIN_RESET);

  /*Configure GPIO pin Output Level */
  HAL_GPIO_WritePin(MOTOR3_DIR_GPIO_Port, MOTOR3_DIR_Pin, GPIO_PIN_RESET);

  /*Configure GPIO pin : WATER_DO_Pin */
  GPIO_InitStruct.Pin = WATER_DO_Pin;
  GPIO_InitStruct.Mode = GPIO_MODE_INPUT;
  GPIO_InitStruct.Pull = GPIO_NOPULL;
  HAL_GPIO_Init(WATER_DO_GPIO_Port, &GPIO_InitStruct);

  /*Configure GPIO pins : MOTOR_ROLLER_DIR_Pin MOTOR2_DIR_Pin */
  GPIO_InitStruct.Pin = MOTOR_ROLLER_DIR_Pin|MOTOR2_DIR_Pin;
  GPIO_InitStruct.Mode = GPIO_MODE_OUTPUT_PP;
  GPIO_InitStruct.Pull = GPIO_NOPULL;
  GPIO_InitStruct.Speed = GPIO_SPEED_FREQ_LOW;
  HAL_GPIO_Init(GPIOA, &GPIO_InitStruct);

  /*Configure GPIO pin : MOTOR3_DIR_Pin */
  GPIO_InitStruct.Pin = MOTOR3_DIR_Pin;
  GPIO_InitStruct.Mode = GPIO_MODE_OUTPUT_PP;
  GPIO_InitStruct.Pull = GPIO_NOPULL;
  GPIO_InitStruct.Speed = GPIO_SPEED_FREQ_LOW;
  HAL_GPIO_Init(MOTOR3_DIR_GPIO_Port, &GPIO_InitStruct);

}

void StartDefaultTask(void *argument)
{
  /* init code for USB_DEVICE */
  MX_USB_DEVICE_Init();
  for(;;)
  {
    osDelay(1);
  }
}

 /* MPU Configuration */

void MPU_Config(void)
{
  MPU_Region_InitTypeDef MPU_InitStruct = {0};

  /* Disables the MPU */
  HAL_MPU_Disable();

  /** Initializes and configures the Region and the memory to be protected
  */
  MPU_InitStruct.Enable = MPU_REGION_ENABLE;
  MPU_InitStruct.Number = MPU_REGION_NUMBER0;
  MPU_InitStruct.BaseAddress = 0x0;
  MPU_InitStruct.Size = MPU_REGION_SIZE_4GB;
  MPU_InitStruct.SubRegionDisable = 0x87;
  MPU_InitStruct.TypeExtField = MPU_TEX_LEVEL0;
  MPU_InitStruct.AccessPermission = MPU_REGION_NO_ACCESS;
  MPU_InitStruct.DisableExec = MPU_INSTRUCTION_ACCESS_DISABLE;
  MPU_InitStruct.IsShareable = MPU_ACCESS_SHAREABLE;
  MPU_InitStruct.IsCacheable = MPU_ACCESS_NOT_CACHEABLE;
  MPU_InitStruct.IsBufferable = MPU_ACCESS_NOT_BUFFERABLE;

  HAL_MPU_ConfigRegion(&MPU_InitStruct);
  /* Enables the MPU */
  HAL_MPU_Enable(MPU_PRIVILEGED_DEFAULT);

}

void HAL_TIM_PeriodElapsedCallback(TIM_HandleTypeDef *htim)
{
  if (htim->Instance == TIM15)
  {
    HAL_IncTick();
  }
  /* USER CODE BEGIN Callback 1 */
  else if (htim->Instance == TIM6)
  {
    tim6_1ms_cnt++;
    App_UART_Tick1ms();
  }

  /* USER CODE END Callback 1 */
}

void Error_Handler(void)
{
  __disable_irq();
  while (1)
  {
  }
}
